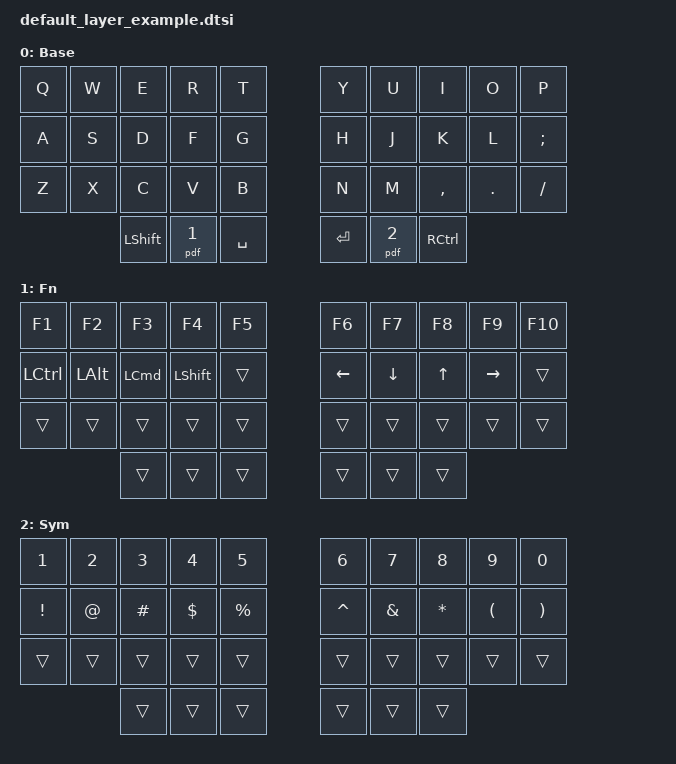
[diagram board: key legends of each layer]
/* Example ZMK keyboard configuration with pdf (persistent default layer) behavior
 *
 * This example shows how to use the pdf behavior to create
 * a persistent layer switching mechanism.
 */

#include <behaviors.dtsi>
#include <dt-bindings/zmk/keys.h>
#include <dt-bindings/zmk/bt.h>
#include <dt-bindings/zmk/outputs.h>

/ {
    behaviors {
        pdf: pdf {
            compatible = "zmk,behaviour-persistent-default-layer";
            #binding-cells = <1>;
            default-layer = <0>;
        };
    };

    keymap {
        compatible = "zmk,keymap";
        label = "Default Keymap";

        // Layer 0: Base/QWERTY Layer
        base_layer {
            label = "Base";
            bindings = <
                &kp Q      &kp W      &kp E      &kp R      &kp T      &kp Y      &kp U      &kp I      &kp O      &kp P
                &kp A      &kp S      &kp D      &kp F      &kp G      &kp H      &kp J      &kp K      &kp L      &kp SEMI
                &kp Z      &kp X      &kp C      &kp V      &kp B      &kp N      &kp M      &kp COMMA  &kp DOT    &kp SLASH
                           &kp LSHIFT &pdf 1     &kp SPACE  &kp RET    &pdf 2     &kp RCTRL
            >;
        };

        // Layer 1: Function Layer
        function_layer {
            label = "Fn";
            bindings = <
                &kp F1     &kp F2     &kp F3     &kp F4     &kp F5     &kp F6     &kp F7     &kp F8     &kp F9     &kp F10
                &kp LCTRL  &kp LALT   &kp LCMD   &kp LSHIFT &trans     &kp LEFT   &kp DOWN   &kp UP     &kp RIGHT  &trans
                &trans     &trans     &trans     &trans     &trans     &trans     &trans     &trans     &trans     &trans
                           &trans     &trans     &trans     &trans     &trans     &trans
            >;
        };

        // Layer 2: Number/Symbol Layer
        symbol_layer {
            label = "Sym";
            bindings = <
                &kp N1     &kp N2     &kp N3     &kp N4     &kp N5     &kp N6     &kp N7     &kp N8     &kp N9     &kp N0
                &kp EXCL   &kp AT     &kp HASH   &kp DLLR   &kp PRCNT  &kp CARET  &kp AMPS   &kp STAR   &kp LPAR   &kp RPAR
                &trans     &trans     &trans     &trans     &trans     &trans     &trans     &trans     &trans     &trans
                           &trans     &trans     &trans     &trans     &trans     &trans
            >;
        };
    };
};
